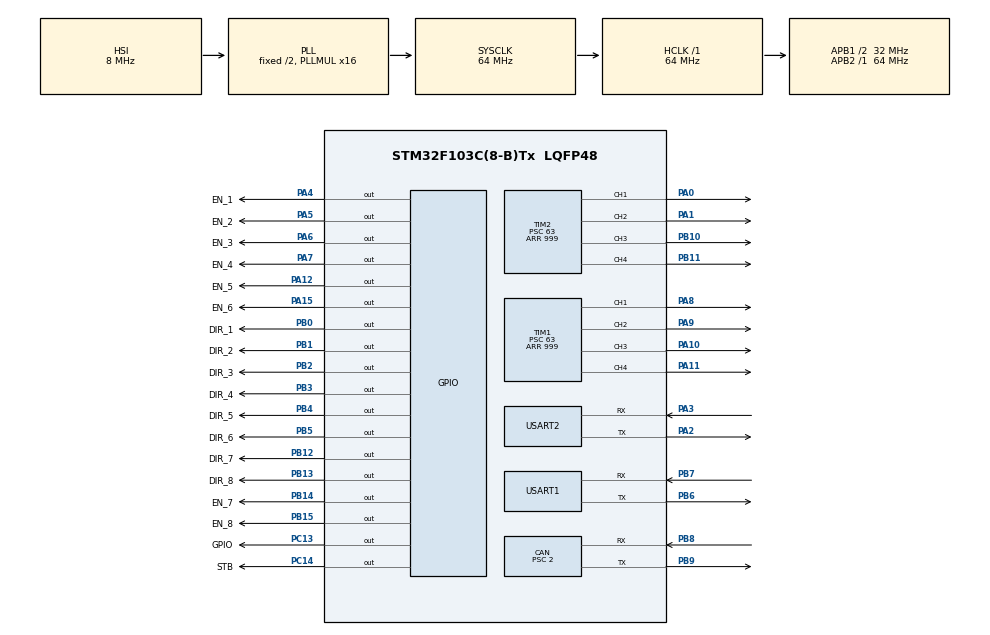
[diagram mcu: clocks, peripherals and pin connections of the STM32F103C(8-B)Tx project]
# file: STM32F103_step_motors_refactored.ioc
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CAN.BS1=CAN_BS1_11TQ
CAN.BS2=CAN_BS2_4TQ
CAN.CalculateBaudRate=1000000
CAN.CalculateTimeBit=1000
CAN.CalculateTimeQuantum=62.5
CAN.NART=ENABLE
CAN.Prescaler=2
CAN.TXFP=ENABLE
FREERTOS.Tasks01=task_can_handle,40,128,start_task_can_handler,Default,NULL,Dynamic,NULL,NULL;task_dispatcher,24,256,start_task_dispatcher,Default,NULL,Dynamic,NULL,NULL;task_motion_con,48,256,start_task_motion_controller,Default,NULL,Dynamic,NULL,NULL;task_tmc2209_ma,16,256,start_task_tmc2209_manager,Default,NULL,Dynamic,NULL,NULL;task_watchdog,56,128,start_task_watchdog,Default,NULL,Dynamic,NULL,NULL
FREERTOS.configTOTAL_HEAP_SIZE=8192
FREERTOS.configUSE_NEWLIB_REENTRANT=1
IWDG.Prescaler=IWDG_PRESCALER_256
IWDG.Reload=624
Mcu.Family=STM32F1
Mcu.Name=STM32F103C(8-B)Tx
Mcu.Package=LQFP48
NVIC.CAN1_RX1_IRQn=true\:5\:0\:false\:false\:true\:true\:true\:true\:true
NVIC.PriorityGroup=NVIC_PRIORITYGROUP_4
NVIC.TIM2_IRQn=true\:5\:0\:false\:false\:true\:true\:true\:true\:true
NVIC.TIM4_IRQn=true\:15\:0\:false\:false\:true\:false\:false\:true\:true
NVIC.TimeBase=TIM4_IRQn
NVIC.TimeBaseIP=TIM4
NVIC.USB_LP_CAN1_RX0_IRQn=true\:5\:0\:false\:false\:true\:true\:true\:true\:true
PA0-WKUP.Signal=S_TIM2_CH1_ETR
PA1.Signal=S_TIM2_CH2
PA10.Signal=S_TIM1_CH3
PA11.Signal=S_TIM1_CH4
PA12.PinState=GPIO_PIN_SET
PA12.GPIO_Label=EN_5
PA12.Signal=GPIO_Output
PA13.Mode=Serial_Wire
PA13.Signal=SYS_JTMS-SWDIO
PA14.Mode=Serial_Wire
PA14.Signal=SYS_JTCK-SWCLK
PA15.PinState=GPIO_PIN_SET
PA15.GPIO_Label=EN_6
PA15.Signal=GPIO_Output
PA2.Mode=Asynchronous
PA2.Signal=USART2_TX
PA3.Mode=Asynchronous
PA3.Signal=USART2_RX
PA4.PinState=GPIO_PIN_SET
PA4.GPIO_Label=EN_1
PA4.Signal=GPIO_Output
PA5.PinState=GPIO_PIN_SET
PA5.GPIO_Label=EN_2
PA5.Signal=GPIO_Output
PA6.PinState=GPIO_PIN_SET
PA6.GPIO_Label=EN_3
PA6.Signal=GPIO_Output
PA7.PinState=GPIO_PIN_SET
PA7.GPIO_Label=EN_4
PA7.Signal=GPIO_Output
PA8.Signal=S_TIM1_CH1
PA9.Signal=S_TIM1_CH2
PB0.GPIO_Label=DIR_1
PB0.Signal=GPIO_Output
PB1.GPIO_Label=DIR_2
PB1.Signal=GPIO_Output
PB10.Signal=S_TIM2_CH3
PB11.Signal=S_TIM2_CH4
PB12.GPIO_Label=DIR_7
PB12.Signal=GPIO_Output
PB13.GPIO_Label=DIR_8
PB13.Signal=GPIO_Output
PB14.PinState=GPIO_PIN_SET
PB14.GPIO_Label=EN_7
PB14.Signal=GPIO_Output
PB15.PinState=GPIO_PIN_SET
PB15.GPIO_Label=EN_8
PB15.Signal=GPIO_Output
PB2.GPIO_Label=DIR_3
PB2.Signal=GPIO_Output
PB3.GPIO_Label=DIR_4
PB3.Signal=GPIO_Output
PB4.GPIO_Label=DIR_5
PB4.Signal=GPIO_Output
PB5.GPIO_Label=DIR_6
PB5.Signal=GPIO_Output
PB6.Mode=Asynchronous
PB6.Signal=USART1_TX
PB7.Mode=Asynchronous
PB7.Signal=USART1_RX
PB8.Mode=CAN_Activate
PB8.Signal=CAN_RX
PB9.Mode=CAN_Activate
PB9.Signal=CAN_TX
PC13-TAMPER-RTC.GPIO_Label=GPIO
PC13-TAMPER-RTC.Signal=GPIO_Output
PC14-OSC32_IN.GPIO_Label=STB
PC14-OSC32_IN.Signal=GPIO_Output
ProjectManager.HeapSize=0x200
ProjectManager.StackSize=0x400
ProjectManager.TargetToolchain=STM32CubeIDE
RCC.AHBFreq_Value=64000000
RCC.APB1CLKDivider=RCC_HCLK_DIV2
RCC.APB1Freq_Value=32000000
RCC.APB1TimFreq_Value=64000000
RCC.APB2Freq_Value=64000000
RCC.APB2TimFreq_Value=64000000
RCC.HCLKFreq_Value=64000000
RCC.PLLMUL=RCC_PLL_MUL16
RCC.SYSCLKFreq_VALUE=64000000
RCC.SYSCLKSource=RCC_SYSCLKSOURCE_PLLCLK
RCC.USBFreq_Value=64000000
SH.S_TIM1_CH1.0=TIM1_CH1,PWM Generation1 CH1
SH.S_TIM1_CH2.0=TIM1_CH2,PWM Generation2 CH2
SH.S_TIM1_CH3.0=TIM1_CH3,PWM Generation3 CH3
SH.S_TIM1_CH4.0=TIM1_CH4,PWM Generation4 CH4
SH.S_TIM2_CH1_ETR.0=TIM2_CH1,PWM Generation1 CH1
SH.S_TIM2_CH2.0=TIM2_CH2,PWM Generation2 CH2
SH.S_TIM2_CH3.0=TIM2_CH3,PWM Generation3 CH3
SH.S_TIM2_CH4.0=TIM2_CH4,PWM Generation4 CH4
TIM1.AutomaticOutput=TIM_AUTOMATICOUTPUT_ENABLE
TIM1.Channel-PWM\ Generation1\ CH1=TIM_CHANNEL_1
TIM1.Channel-PWM\ Generation2\ CH2=TIM_CHANNEL_2
TIM1.Channel-PWM\ Generation3\ CH3=TIM_CHANNEL_3
TIM1.Channel-PWM\ Generation4\ CH4=TIM_CHANNEL_4
TIM1.Period=999
TIM1.Prescaler=63
TIM1.Pulse-PWM\ Generation1\ CH1=500
TIM1.Pulse-PWM\ Generation2\ CH2=500
TIM1.Pulse-PWM\ Generation3\ CH3=500
TIM1.Pulse-PWM\ Generation4\ CH4=500
TIM2.Channel-PWM\ Generation1\ CH1=TIM_CHANNEL_1
TIM2.Channel-PWM\ Generation2\ CH2=TIM_CHANNEL_2
TIM2.Channel-PWM\ Generation3\ CH3=TIM_CHANNEL_3
TIM2.Channel-PWM\ Generation4\ CH4=TIM_CHANNEL_4
TIM2.Period=999
TIM2.Prescaler=63
TIM2.Pulse-PWM\ Generation1\ CH1=500
TIM2.Pulse-PWM\ Generation2\ CH2=500
TIM2.Pulse-PWM\ Generation3\ CH3=500
TIM2.Pulse-PWM\ Generation4\ CH4=500
USART1.VirtualMode=VM_ASYNC
USART2.VirtualMode=VM_ASYNC
VP_FREERTOS_VS_CMSIS_V2.Mode=CMSIS_V2
VP_IWDG_VS_IWDG.Mode=IWDG_Activate
VP_RTC_No_RTC_Output.Mode=RTC_OUT_NO
VP_RTC_VS_RTC_Activate.Mode=RTC_Enabled
VP_SYS_VS_tim4.Mode=TIM4
VP_TIM1_VS_ClockSourceINT.Mode=Internal
VP_TIM2_VS_ClockSourceINT.Mode=Internal
board=custom

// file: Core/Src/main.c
/* USER CODE BEGIN Header */
/**
  ******************************************************************************
  * @file           : main.c
  * @brief          : Main program body
  ******************************************************************************
  * @attention
  *
  * Copyright (c) 2025 STMicroelectronics.
  * All rights reserved.
  *
  * This software is licensed under terms that can be found in the LICENSE file
  * in the root directory of this software component.
  * If no LICENSE file comes with this software, it is provided AS-IS.
  *
  ******************************************************************************
  */
/* USER CODE END Header */
#include "main.h"
#include "cmsis_os.h"

/* USER CODE BEGIN Includes */
#include "app_flash.h"
#include "task_dispatcher.h"
#include "task_can_handler.h"
#include "task_motion_controller.h"
#include "task_tmc2209_manager.h"
#include "task_watchdog.h"
#include "app_config.h"
#include "app_safety.h"
#include "tmc2209_driver.h" // Для типа TMC2209_Handle_t

/* USER CODE END Includes */

CAN_HandleTypeDef hcan;

IWDG_HandleTypeDef hiwdg;

RTC_HandleTypeDef hrtc;

TIM_HandleTypeDef htim1;
TIM_HandleTypeDef htim2;

UART_HandleTypeDef huart1;
UART_HandleTypeDef huart2;

/* Definitions for task_can_handle */
osThreadId_t task_can_handleHandle;
const osThreadAttr_t task_can_handle_attributes = {
  .name = "task_can_handle",
  .stack_size = 128 * 4,
  .priority = (osPriority_t) osPriorityHigh,
};
/* Definitions for task_dispatcher */
osThreadId_t task_dispatcherHandle;
const osThreadAttr_t task_dispatcher_attributes = {
  .name = "task_dispatcher",
  .stack_size = 256 * 4,
  .priority = (osPriority_t) osPriorityNormal,
};
/* Definitions for task_motion_con */
osThreadId_t task_motion_conHandle;
const osThreadAttr_t task_motion_con_attributes = {
  .name = "task_motion_con",
  .stack_size = 256 * 4,
  .priority = (osPriority_t) osPriorityRealtime,
};
/* Definitions for task_tmc2209_ma */
osThreadId_t task_tmc2209_maHandle;
const osThreadAttr_t task_tmc2209_ma_attributes = {
  .name = "task_tmc2209_ma",
  .stack_size = 256 * 4,
  .priority = (osPriority_t) osPriorityBelowNormal,
};
/* Definitions for task_watchdog */
osThreadId_t task_watchdogHandle;
const osThreadAttr_t task_watchdog_attributes = {
  .name = "task_watchdog",
  .stack_size = 128 * 4,
  .priority = (osPriority_t) osPriorityRealtime7,
};
/* USER CODE BEGIN PV */

osMessageQueueId_t can_rx_queueHandle;
osMessageQueueId_t can_tx_queueHandle;
osMessageQueueId_t dispatcher_queueHandle;
osMessageQueueId_t motion_queueHandle;

/* USER CODE END PV */

void SystemClock_Config(void);
static void MX_GPIO_Init(void);
static void MX_CAN_Init(void);
static void MX_RTC_Init(void);
static void MX_TIM1_Init(void);
static void MX_TIM2_Init(void);
static void MX_USART1_UART_Init(void);
static void MX_USART2_UART_Init(void);
static void MX_IWDG_Init(void);
void start_task_can_handler(void *argument);
void start_task_dispatcher(void *argument);
void start_task_motion_controller(void *argument);
void start_task_tmc2209_manager(void *argument);
void start_task_watchdog(void *argument);

int main(void)
{

  /* MCU Configuration--------------------------------------------------------*/

  /* Reset of all peripherals, Initializes the Flash interface and the Systick. */
  HAL_Init();

  /* Configure the system clock */
  SystemClock_Config();

  /* Initialize all configured peripherals */
  MX_GPIO_Init();
  MX_CAN_Init();
  MX_RTC_Init();
  MX_TIM1_Init();
  MX_TIM2_Init();
  MX_USART1_UART_Init();
  MX_USART2_UART_Init();
  MX_IWDG_Init();
  /* USER CODE BEGIN 2 */
  AppSafety_AllSafe();

  AppConfig_Init();

  // Создание очередей FreeRTOS с использованием именованных констант
  can_rx_queueHandle = osMessageQueueNew(CAN_RX_QUEUE_LEN, sizeof(CanRxFrame_t), NULL); // CAN-фрейм: на прием
  can_tx_queueHandle = osMessageQueueNew(CAN_TX_QUEUE_LEN, sizeof(CanTxFrame_t), NULL); // CAN-фрейм на отправку
  dispatcher_queueHandle = osMessageQueueNew(DISPATCHER_QUEUE_LEN, sizeof(ParsedCanCommand_t), NULL); // Структура команды
  motion_queueHandle = osMessageQueueNew(MOTION_QUEUE_LEN, sizeof(MotionCommand_t), NULL); // Задание на движение

  // Проверка успешности создания очередей
  if (can_rx_queueHandle == NULL || dispatcher_queueHandle == NULL ||
      motion_queueHandle == NULL ||
      can_tx_queueHandle == NULL) {
    Error_Handler();
  }

  /* USER CODE END 2 */

  /* Init scheduler */
  osKernelInitialize();

  /* Create the thread(s) */
  /* creation of task_can_handle */
  task_can_handleHandle = osThreadNew(start_task_can_handler, NULL, &task_can_handle_attributes);

  /* creation of task_dispatcher */
  task_dispatcherHandle = osThreadNew(start_task_dispatcher, NULL, &task_dispatcher_attributes);

  /* creation of task_motion_con */
  task_motion_conHandle = osThreadNew(start_task_motion_controller, NULL, &task_motion_con_attributes);

  /* creation of task_tmc2209_ma */
  task_tmc2209_maHandle = osThreadNew(start_task_tmc2209_manager, NULL, &task_tmc2209_ma_attributes);

  /* creation of task_watchdog */
  task_watchdogHandle = osThreadNew(start_task_watchdog, NULL, &task_watchdog_attributes);

  /* USER CODE BEGIN RTOS_THREADS */
  /* add threads, ... */
  if (task_can_handleHandle == NULL ||
      task_dispatcherHandle == NULL ||
      task_motion_conHandle == NULL ||
      task_tmc2209_maHandle == NULL ||
      task_watchdogHandle == NULL) {
    Error_Handler();
  }

  /* USER CODE END RTOS_THREADS */

  /* Start scheduler */
  osKernelStart();

  /* We should never get here as control is now taken by the scheduler */

  /* Infinite loop */
  while (1)
  {

  }
}

void SystemClock_Config(void)
{
  RCC_OscInitTypeDef RCC_OscInitStruct = {0};
  RCC_ClkInitTypeDef RCC_ClkInitStruct = {0};
  RCC_PeriphCLKInitTypeDef PeriphClkInit = {0};

  /** Initializes the RCC Oscillators according to the specified parameters
  * in the RCC_OscInitTypeDef structure.
  */
  RCC_OscInitStruct.OscillatorType = RCC_OSCILLATORTYPE_HSI|RCC_OSCILLATORTYPE_LSI;
  RCC_OscInitStruct.HSIState = RCC_HSI_ON;
  RCC_OscInitStruct.HSICalibrationValue = RCC_HSICALIBRATION_DEFAULT;
  RCC_OscInitStruct.LSIState = RCC_LSI_ON;
  RCC_OscInitStruct.PLL.PLLState = RCC_PLL_ON;
  RCC_OscInitStruct.PLL.PLLSource = RCC_PLLSOURCE_HSI_DIV2;
  RCC_OscInitStruct.PLL.PLLMUL = RCC_PLL_MUL16;
  if (HAL_RCC_OscConfig(&RCC_OscInitStruct) != HAL_OK)
  {
    Error_Handler();
  }

  /** Initializes the CPU, AHB and APB buses clocks
  */
  RCC_ClkInitStruct.ClockType = RCC_CLOCKTYPE_HCLK|RCC_CLOCKTYPE_SYSCLK
                              |RCC_CLOCKTYPE_PCLK1|RCC_CLOCKTYPE_PCLK2;
  RCC_ClkInitStruct.SYSCLKSource = RCC_SYSCLKSOURCE_PLLCLK;
  RCC_ClkInitStruct.AHBCLKDivider = RCC_SYSCLK_DIV1;
  RCC_ClkInitStruct.APB1CLKDivider = RCC_HCLK_DIV2;
  RCC_ClkInitStruct.APB2CLKDivider = RCC_HCLK_DIV1;

  if (HAL_RCC_ClockConfig(&RCC_ClkInitStruct, FLASH_LATENCY_2) != HAL_OK)
  {
    Error_Handler();
  }
  PeriphClkInit.PeriphClockSelection = RCC_PERIPHCLK_RTC;
  PeriphClkInit.RTCClockSelection = RCC_RTCCLKSOURCE_LSI;
  if (HAL_RCCEx_PeriphCLKConfig(&PeriphClkInit) != HAL_OK)
  {
    Error_Handler();
  }
}

static void MX_CAN_Init(void)
{

  hcan.Instance = CAN1;
  hcan.Init.Prescaler = 2;
  hcan.Init.Mode = CAN_MODE_NORMAL;
  hcan.Init.SyncJumpWidth = CAN_SJW_1TQ;
  hcan.Init.TimeSeg1 = CAN_BS1_11TQ;
  hcan.Init.TimeSeg2 = CAN_BS2_4TQ;
  hcan.Init.TimeTriggeredMode = DISABLE;
  hcan.Init.AutoBusOff = DISABLE;
  hcan.Init.AutoWakeUp = DISABLE;
  hcan.Init.AutoRetransmission = ENABLE;
  hcan.Init.ReceiveFifoLocked = DISABLE;
  hcan.Init.TransmitFifoPriority = ENABLE;
  if (HAL_CAN_Init(&hcan) != HAL_OK)
  {
    Error_Handler();
  }

}

static void MX_IWDG_Init(void)
{

  hiwdg.Instance = IWDG;
  hiwdg.Init.Prescaler = IWDG_PRESCALER_256;
  hiwdg.Init.Reload = 624;
  if (HAL_IWDG_Init(&hiwdg) != HAL_OK)
  {
    Error_Handler();
  }

}

static void MX_RTC_Init(void)
{

  RTC_TimeTypeDef sTime = {0};
  RTC_DateTypeDef DateToUpdate = {0};

  /** Initialize RTC Only
  */
  hrtc.Instance = RTC;
  hrtc.Init.AsynchPrediv = RTC_AUTO_1_SECOND;
  hrtc.Init.OutPut = RTC_OUTPUTSOURCE_NONE;
  if (HAL_RTC_Init(&hrtc) != HAL_OK)
  {
    Error_Handler();
  }

  /** Initialize RTC and set the Time and Date
  */
  sTime.Hours = 0x0;
  sTime.Minutes = 0x0;
  sTime.Seconds = 0x0;

  if (HAL_RTC_SetTime(&hrtc, &sTime, RTC_FORMAT_BCD) != HAL_OK)
  {
    Error_Handler();
  }
  DateToUpdate.WeekDay = RTC_WEEKDAY_MONDAY;
  DateToUpdate.Month = RTC_MONTH_JANUARY;
  DateToUpdate.Date = 0x1;
  DateToUpdate.Year = 0x0;

  if (HAL_RTC_SetDate(&hrtc, &DateToUpdate, RTC_FORMAT_BCD) != HAL_OK)
  {
    Error_Handler();
  }

}

static void MX_TIM1_Init(void)
{

  TIM_ClockConfigTypeDef sClockSourceConfig = {0};
  TIM_MasterConfigTypeDef sMasterConfig = {0};
  TIM_OC_InitTypeDef sConfigOC = {0};
  TIM_BreakDeadTimeConfigTypeDef sBreakDeadTimeConfig = {0};

  htim1.Instance = TIM1;
  htim1.Init.Prescaler = 63;
  htim1.Init.CounterMode = TIM_COUNTERMODE_UP;
  htim1.Init.Period = 999;
  htim1.Init.ClockDivision = TIM_CLOCKDIVISION_DIV1;
  htim1.Init.RepetitionCounter = 0;
  htim1.Init.AutoReloadPreload = TIM_AUTORELOAD_PRELOAD_DISABLE;
  if (HAL_TIM_Base_Init(&htim1) != HAL_OK)
  {
    Error_Handler();
  }
  sClockSourceConfig.ClockSource = TIM_CLOCKSOURCE_INTERNAL;
  if (HAL_TIM_ConfigClockSource(&htim1, &sClockSourceConfig) != HAL_OK)
  {
    Error_Handler();
  }
  if (HAL_TIM_PWM_Init(&htim1) != HAL_OK)
  {
    Error_Handler();
  }
  sMasterConfig.MasterOutputTrigger = TIM_TRGO_RESET;
  sMasterConfig.MasterSlaveMode = TIM_MASTERSLAVEMODE_DISABLE;
  if (HAL_TIMEx_MasterConfigSynchronization(&htim1, &sMasterConfig) != HAL_OK)
  {
    Error_Handler();
  }
  sConfigOC.OCMode = TIM_OCMODE_PWM1;
  sConfigOC.Pulse = 500;
  sConfigOC.OCPolarity = TIM_OCPOLARITY_HIGH;
  sConfigOC.OCNPolarity = TIM_OCNPOLARITY_HIGH;
  sConfigOC.OCFastMode = TIM_OCFAST_DISABLE;
  sConfigOC.OCIdleState = TIM_OCIDLESTATE_RESET;
  sConfigOC.OCNIdleState = TIM_OCNIDLESTATE_RESET;
  if (HAL_TIM_PWM_ConfigChannel(&htim1, &sConfigOC, TIM_CHANNEL_1) != HAL_OK)
  {
    Error_Handler();
  }
  if (HAL_TIM_PWM_ConfigChannel(&htim1, &sConfigOC, TIM_CHANNEL_2) != HAL_OK)
  {
    Error_Handler();
  }
  if (HAL_TIM_PWM_ConfigChannel(&htim1, &sConfigOC, TIM_CHANNEL_3) != HAL_OK)
  {
    Error_Handler();
  }
  if (HAL_TIM_PWM_ConfigChannel(&htim1, &sConfigOC, TIM_CHANNEL_4) != HAL_OK)
  {
    Error_Handler();
  }
  sBreakDeadTimeConfig.OffStateRunMode = TIM_OSSR_DISABLE;
  sBreakDeadTimeConfig.OffStateIDLEMode = TIM_OSSI_DISABLE;
  sBreakDeadTimeConfig.LockLevel = TIM_LOCKLEVEL_OFF;
  sBreakDeadTimeConfig.DeadTime = 0;
  sBreakDeadTimeConfig.BreakState = TIM_BREAK_DISABLE;
  sBreakDeadTimeConfig.BreakPolarity = TIM_BREAKPOLARITY_HIGH;
  sBreakDeadTimeConfig.AutomaticOutput = TIM_AUTOMATICOUTPUT_ENABLE;
  if (HAL_TIMEx_ConfigBreakDeadTime(&htim1, &sBreakDeadTimeConfig) != HAL_OK)
  {
    Error_Handler();
  }
  HAL_TIM_MspPostInit(&htim1);

}

static void MX_TIM2_Init(void)
{

  TIM_ClockConfigTypeDef sClockSourceConfig = {0};
  TIM_MasterConfigTypeDef sMasterConfig = {0};
  TIM_OC_InitTypeDef sConfigOC = {0};

  htim2.Instance = TIM2;
  htim2.Init.Prescaler = 63;
  htim2.Init.CounterMode = TIM_COUNTERMODE_UP;
  htim2.Init.Period = 999;
  htim2.Init.ClockDivision = TIM_CLOCKDIVISION_DIV1;
  htim2.Init.AutoReloadPreload = TIM_AUTORELOAD_PRELOAD_DISABLE;
  if (HAL_TIM_Base_Init(&htim2) != HAL_OK)
  {
    Error_Handler();
  }
  sClockSourceConfig.ClockSource = TIM_CLOCKSOURCE_INTERNAL;
  if (HAL_TIM_ConfigClockSource(&htim2, &sClockSourceConfig) != HAL_OK)
  {
    Error_Handler();
  }
  if (HAL_TIM_PWM_Init(&htim2) != HAL_OK)
  {
    Error_Handler();
  }
  sMasterConfig.MasterOutputTrigger = TIM_TRGO_RESET;
  sMasterConfig.MasterSlaveMode = TIM_MASTERSLAVEMODE_DISABLE;
  if (HAL_TIMEx_MasterConfigSynchronization(&htim2, &sMasterConfig) != HAL_OK)
  {
    Error_Handler();
  }
  sConfigOC.OCMode = TIM_OCMODE_PWM1;
  sConfigOC.Pulse = 500;
  sConfigOC.OCPolarity = TIM_OCPOLARITY_HIGH;
  sConfigOC.OCFastMode = TIM_OCFAST_DISABLE;
  if (HAL_TIM_PWM_ConfigChannel(&htim2, &sConfigOC, TIM_CHANNEL_1) != HAL_OK)
  {
    Error_Handler();
  }
  if (HAL_TIM_PWM_ConfigChannel(&htim2, &sConfigOC, TIM_CHANNEL_2) != HAL_OK)
  {
    Error_Handler();
  }
  if (HAL_TIM_PWM_ConfigChannel(&htim2, &sConfigOC, TIM_CHANNEL_3) != HAL_OK)
  {
    Error_Handler();
  }
  if (HAL_TIM_PWM_ConfigChannel(&htim2, &sConfigOC, TIM_CHANNEL_4) != HAL_OK)
  {
    Error_Handler();
  }
  HAL_TIM_MspPostInit(&htim2);

}

static void MX_USART1_UART_Init(void)
{

  huart1.Instance = USART1;
  huart1.Init.BaudRate = 115200;
  huart1.Init.WordLength = UART_WORDLENGTH_8B;
  huart1.Init.StopBits = UART_STOPBITS_1;
  huart1.Init.Parity = UART_PARITY_NONE;
  huart1.Init.Mode = UART_MODE_TX_RX;
  huart1.Init.HwFlowCtl = UART_HWCONTROL_NONE;
  huart1.Init.OverSampling = UART_OVERSAMPLING_16;
  if (HAL_UART_Init(&huart1) != HAL_OK)
  {
    Error_Handler();
  }

}

static void MX_USART2_UART_Init(void)
{

  huart2.Instance = USART2;
  huart2.Init.BaudRate = 115200;
  huart2.Init.WordLength = UART_WORDLENGTH_8B;
  huart2.Init.StopBits = UART_STOPBITS_1;
  huart2.Init.Parity = UART_PARITY_NONE;
  huart2.Init.Mode = UART_MODE_TX_RX;
  huart2.Init.HwFlowCtl = UART_HWCONTROL_NONE;
  huart2.Init.OverSampling = UART_OVERSAMPLING_16;
  if (HAL_UART_Init(&huart2) != HAL_OK)
  {
    Error_Handler();
  }

}

static void MX_GPIO_Init(void)
{
  GPIO_InitTypeDef GPIO_InitStruct = {0};
  /* USER CODE BEGIN MX_GPIO_Init_1 */
  AppSafety_AllSafe();

  /* USER CODE END MX_GPIO_Init_1 */

  /* GPIO Ports Clock Enable */
  __HAL_RCC_GPIOC_CLK_ENABLE();
  __HAL_RCC_GPIOA_CLK_ENABLE();
  __HAL_RCC_GPIOB_CLK_ENABLE();

  /*Configure GPIO pin Output Level */
  HAL_GPIO_WritePin(GPIOC, GPIO_Pin|STB_Pin, GPIO_PIN_RESET);

  /*Configure GPIO pin Output Level */
  HAL_GPIO_WritePin(GPIOA, EN_1_Pin|EN_2_Pin|EN_3_Pin|EN_4_Pin
                          |EN_5_Pin|EN_6_Pin, GPIO_PIN_SET);

  /*Configure GPIO pin Output Level */
  HAL_GPIO_WritePin(GPIOB, DIR_1_Pin|DIR_2_Pin|DIR_3_Pin|DIR_7_Pin
                          |DIR_8_Pin|DIR_4_Pin
                          |DIR_5_Pin|DIR_6_Pin, GPIO_PIN_RESET);

  HAL_GPIO_WritePin(GPIOB, EN_7_Pin|EN_8_Pin, GPIO_PIN_SET);

  /*Configure GPIO pins : GPIO_Pin STB_Pin */
  GPIO_InitStruct.Pin = GPIO_Pin|STB_Pin;
  GPIO_InitStruct.Mode = GPIO_MODE_OUTPUT_PP;
  GPIO_InitStruct.Pull = GPIO_NOPULL;
  GPIO_InitStruct.Speed = GPIO_SPEED_FREQ_LOW;
  HAL_GPIO_Init(GPIOC, &GPIO_InitStruct);

  /*Configure GPIO pins : EN_1_Pin EN_2_Pin EN_3_Pin EN_4_Pin
                           EN_5_Pin EN_6_Pin */
  GPIO_InitStruct.Pin = EN_1_Pin|EN_2_Pin|EN_3_Pin|EN_4_Pin
                          |EN_5_Pin|EN_6_Pin;
  GPIO_InitStruct.Mode = GPIO_MODE_OUTPUT_PP;
  GPIO_InitStruct.Pull = GPIO_NOPULL;
  GPIO_InitStruct.Speed = GPIO_SPEED_FREQ_LOW;
  HAL_GPIO_Init(GPIOA, &GPIO_InitStruct);

  /*Configure GPIO pins : DIR_1_Pin DIR_2_Pin DIR_3_Pin DIR_7_Pin
                           DIR_8_Pin EN_7_Pin EN_8_Pin DIR_4_Pin
                           DIR_5_Pin DIR_6_Pin */
  GPIO_InitStruct.Pin = DIR_1_Pin|DIR_2_Pin|DIR_3_Pin|DIR_7_Pin
                          |DIR_8_Pin|EN_7_Pin|EN_8_Pin|DIR_4_Pin
                          |DIR_5_Pin|DIR_6_Pin;
  GPIO_InitStruct.Mode = GPIO_MODE_OUTPUT_PP;
  GPIO_InitStruct.Pull = GPIO_NOPULL;
  GPIO_InitStruct.Speed = GPIO_SPEED_FREQ_LOW;
  HAL_GPIO_Init(GPIOB, &GPIO_InitStruct);

}

void start_task_can_handler(void *argument)
{
  /* USER CODE BEGIN 5 */
  app_start_task_can_handler(argument);
  /* Infinite loop */
  for(;;)
  {
    osDelay(1);
  }
  /* USER CODE END 5 */
}

void start_task_dispatcher(void *argument)
{
  /* USER CODE BEGIN start_task_dispatcher */
  app_start_task_dispatcher(argument);
  /* Infinite loop */
  for(;;)
  {
    osDelay(1);
  }
  /* USER CODE END start_task_dispatcher */
}

void start_task_motion_controller(void *argument)
{
  /* USER CODE BEGIN start_task_motion_controller */
  app_start_task_motion_controller(argument);
  /* Infinite loop */
  for(;;)
  {
    osDelay(1);
  }
  /* USER CODE END start_task_motion_controller */
}

void start_task_tmc2209_manager(void *argument)
{
  /* USER CODE BEGIN start_task_tmc2209_manager */
  app_start_task_tmc2209_manager(argument);
  /* Infinite loop */
  for(;;)
  {
    osDelay(1);
  }
  /* USER CODE END start_task_tmc2209_manager */
}

void start_task_watchdog(void *argument)
{
  /* USER CODE BEGIN start_task_watchdog */
  app_start_task_watchdog(argument);
  /* Infinite loop */
  for(;;)
  {
    osDelay(1);
  }
  /* USER CODE END start_task_watchdog */
}

void HAL_TIM_PeriodElapsedCallback(TIM_HandleTypeDef *htim)
{
  if (htim->Instance == TIM4)
  {
    HAL_IncTick();
  }
}

void Error_Handler(void)
{
  /* USER CODE BEGIN Error_Handler_Debug */
  /* User can add his own implementation to report the HAL error return state */
  /* Терминальный путь: сначала запрещаем прерывания, затем безопасное
   * состояние и барьеры памяти; RTOS и IWDG больше не обслуживаются. */
  __disable_irq();
  AppSafety_AllSafe();
  __DSB();
  __ISB();
  while (1)
  {
  }
  /* USER CODE END Error_Handler_Debug */
}
